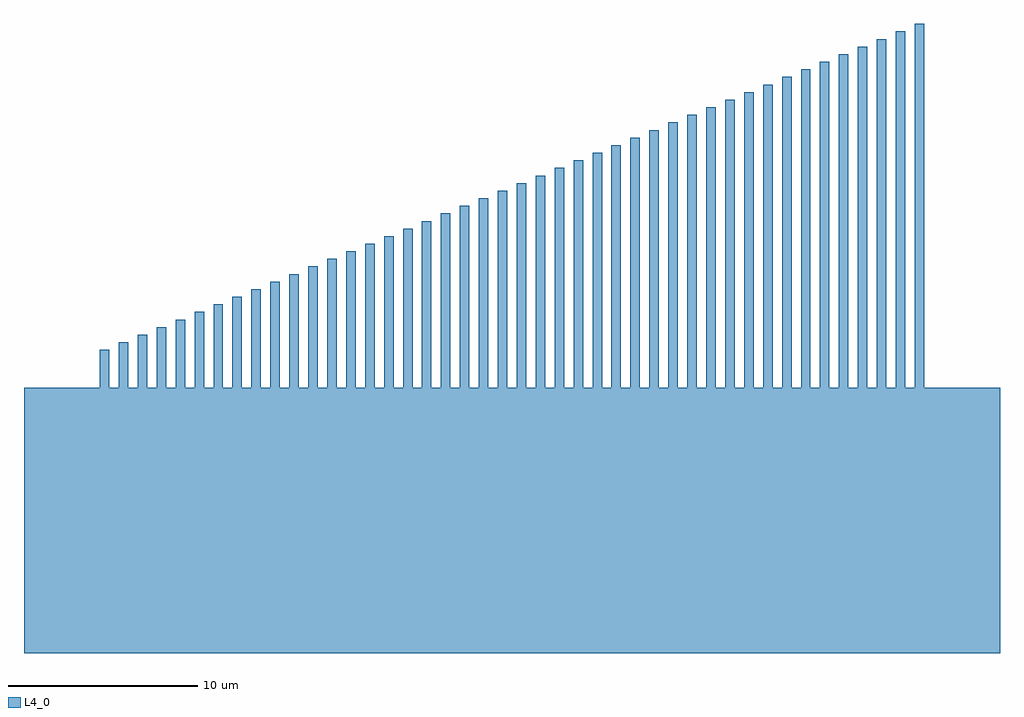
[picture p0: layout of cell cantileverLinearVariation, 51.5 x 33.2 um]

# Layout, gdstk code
import gdstk
lib = gdstk.Library(unit=1e-6, precision=1e-09)
def R(c, l, rs):  # rectangles x0, y0, x1, y1
    for r in rs: c.add(gdstk.rectangle(r[:2], r[2:], *l))
L4_0 = (4, 0)

cantileverlinearvariatio = lib.new_cell('cantileverLinearVariation')
R(cantileverlinearvariatio, L4_0, [(0,0,51.5,14), (4,14,4.5,16), (5,14,5.5,16.4), (6,14,6.5,16.8), (7,14,7.5,17.2), (8,14,8.5,17.6), (9,14,9.5,18), (10,14,10.5,18.4), (11,14,11.5,18.8), (12,14,12.5,19.2), (13,14,13.5,19.6), (14,14,14.5,20), (15,14,15.5,20.4), (16,14,16.5,20.8), (17,14,17.5,21.2), (18,14,18.5,21.6), (19,14,19.5,22), (20,14,20.5,22.4), (21,14,21.5,22.8), (22,14,22.5,23.2), (23,14,23.5,23.6), (24,14,24.5,24), (25,14,25.5,24.4), (26,14,26.5,24.8), (27,14,27.5,25.2), (28,14,28.5,25.6), (29,14,29.5,26), (30,14,30.5,26.4), (31,14,31.5,26.8), (32,14,32.5,27.2), (33,14,33.5,27.6), (34,14,34.5,28), (35,14,35.5,28.4), (36,14,36.5,28.8), (37,14,37.5,29.2), (38,14,38.5,29.6), (39,14,39.5,30), (40,14,40.5,30.4), (41,14,41.5,30.8), (42,14,42.5,31.2), (43,14,43.5,31.6), (44,14,44.5,32), (45,14,45.5,32.4), (46,14,46.5,32.8), (47,14,47.5,33.2)])

lib.write_gds('cantileverLinearVariation.gds')
